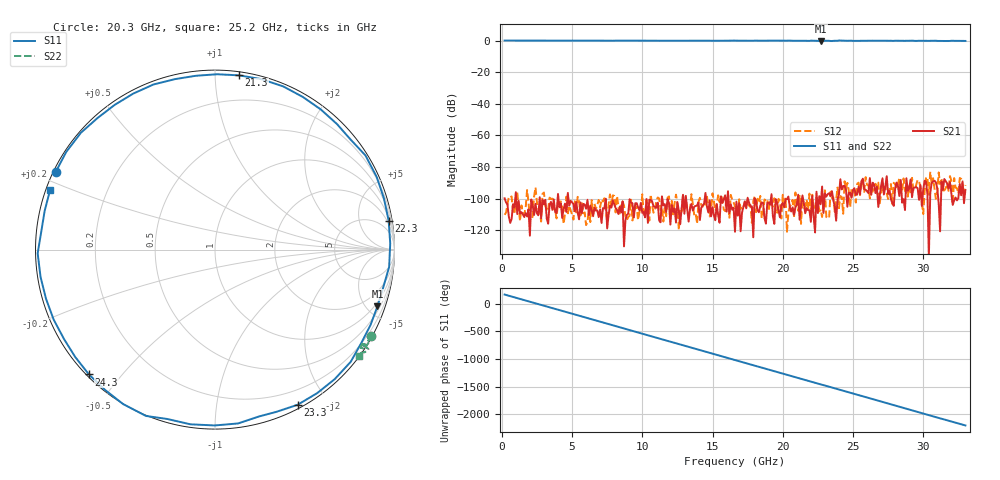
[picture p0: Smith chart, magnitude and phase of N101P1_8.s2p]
# GHZ S RI R 50
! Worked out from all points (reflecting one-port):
!   329 points, 200 MHz to 33 GHz, reference 50 ohm
!   lowest |S11| = -0.4 dB at 22.7 GHz (marker M1), VSWR 47.34, Z = 37.2 - j290 ohm
!   phase of S11 starts at 165 deg and turns -2368 deg over the sweep
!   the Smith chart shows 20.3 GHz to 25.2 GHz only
!   S11 on the Smith chart (normalised r, x): 20.3 GHz: 0.01, +0.23; 21.3 GHz: 0.02, +1.15; 22.3 GHz: 1, +12; 23.3 GHz: 0.04, -1.67; 24.3 GHz: 0.01, -0.41; 25.2 GHz: 0.01, +0.17
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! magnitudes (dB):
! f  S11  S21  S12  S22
! 200 MHz  0.0  -99.7  -110.2  0.0
! 5.7 GHz  -0.1  -109.2  -101.5  0.0
! 11.2 GHz  -0.2  -113.6  -99.8  0.0
! 16.6 GHz  -0.1  -120.9  -104.9  0.0
! 20.3 GHz  -0.1  -100.4  -120.9  -0.1
! 21.3 GHz  -0.2  -104.1  -115.9  0.0
! 22.1 GHz  -0.1  -98.1  -97.5  0.0
! 22.3 GHz  -0.2  -121.3  -105.9  -0.1
! 22.7 GHz  -0.4  -103.5  -106.9  -0.2
! 23 GHz  -0.2  -96.6  -94.7  0.0
! 23.3 GHz  -0.2  -96.5  -112.0  -0.1
! 23.5 GHz  -0.3  -95.2  -99.6  -0.2
! 23.9 GHz  -0.2  -100.1  -92.9  0.0
! 24 GHz  0.0  -97.3  -106.0  0.2
! 24.3 GHz  -0.1  -91.9  -109.5  0.0
! 25.2 GHz  -0.2  -97.6  -102.4  0.0
! 27.6 GHz  -0.1  -95.1  -94.8  0.0
! 28.7 GHz  -0.2  -107.1  -95.1  -0.1
! 30.4 GHz  -0.2  -136.9  -97.3  0.0
! 31.8 GHz  -0.3  -93.6  -95.1  -0.3
! 32 GHz  -0.2  -96.6  -88.4  -0.1
! 33 GHz  -0.3  -94.5  -91.3  -0.1
